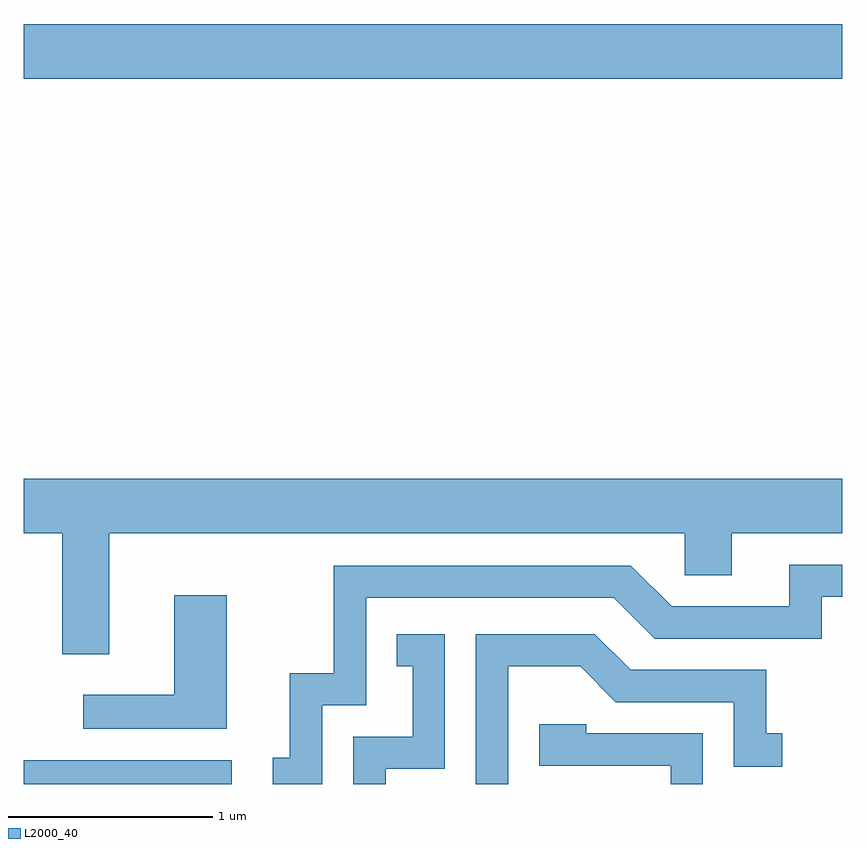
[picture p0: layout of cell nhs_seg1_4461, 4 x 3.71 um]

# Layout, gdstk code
import gdstk
lib = gdstk.Library(unit=1e-6, precision=1e-09)
def R(c, l, rs):  # rectangles x0, y0, x1, y1
    for r in rs: c.add(gdstk.rectangle(r[:2], r[2:], *l))
def P(c, l, *ps):  # polygons
    for p in ps: c.add(gdstk.Polygon(p, *l))
L2000_40 = (2000, 40)

nhs_seg1_4461 = lib.new_cell('nhs_seg1_4461')
R(nhs_seg1_4461, L2000_40, [(319.611,871.712,320.628,871.829), (319.611,875.156,323.611,875.424)])
P(nhs_seg1_4461, L2000_40, [(320.029,872.936),(322.841,872.936),(322.841,872.731),(323.069,872.731),(323.069,872.936),(323.611,872.936),(323.611,873.204),(319.611,873.204),(319.611,872.936),(319.801,872.936),(319.801,872.346),(320.029,872.346)],
  [(321.069,872.096),(321.284,872.096),(321.284,872.621),(322.494,872.621),(322.694,872.421),(323.509,872.421),(323.509,872.626),(323.611,872.626),(323.611,872.784),(323.351,872.784),(323.351,872.579),(322.777,872.579),(322.577,872.779),(321.126,872.779),(321.126,872.254),(320.911,872.254),(320.911,871.839),(320.828,871.839),(320.828,871.712),(321.069,871.712)],
  [(320.604,872.634),(320.346,872.634),(320.346,872.149),(319.903,872.149),(319.903,871.981),(320.604,871.981)],
  [(321.379,871.786),(321.669,871.786),(321.669,872.444),(321.433,872.444),(321.433,872.286),(321.511,872.286),(321.511,871.944),(321.221,871.944),(321.221,871.712),(321.379,871.712)],
  [(321.979,872.286),(322.329,872.286),(322.504,872.111),(323.081,872.111),(323.081,871.796),(323.318,871.796),(323.318,871.959),(323.239,871.959),(323.239,872.269),(322.577,872.269),(322.402,872.444),(321.821,872.444),(321.821,871.712),(321.979,871.712)],
  [(322.929,871.959),(322.359,871.959),(322.359,872.004),(322.131,872.004),(322.131,871.801),(322.771,871.801),(322.771,871.712),(322.929,871.712)])

lib.write_gds('nhs_seg1_4461.gds')
